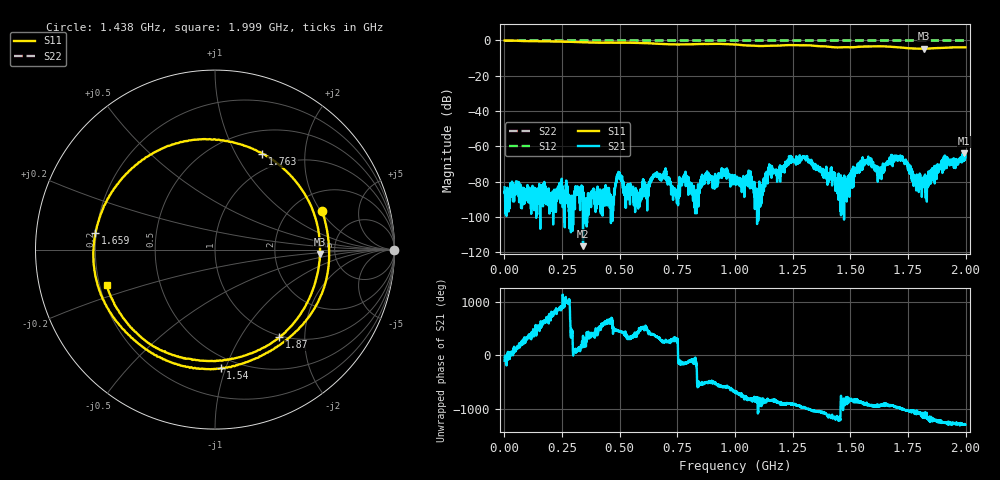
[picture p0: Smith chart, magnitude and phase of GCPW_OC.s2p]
! Anritsu VNA Master:  Model: MS2025B
! SN:  1642059
! /bd0/PROE/TP1/GCPW_OC.s2p
! Existing Calibration Information:
! TYPE:  Current Settings,  Active Cal Settings
! TIME:  04/16/2024 09:08:44 AM,  03/12/2018 11:45:53 AM
! INTERNAL TEMP:  43.0 C,  40.8 C
! # POINTS:  2857,  4001
! START FREQ:  1.000 MHz,  1.000 MHz
! STOP FREQ:  1.999 486 GHz,  2.800 GHz
! SOURCE POWER:  Default,  Default
! IFBW:  1 kHz,  1 kHz
! AVG FACTOR:  1 ,  1
! REF PLANE 1:  0 mm,  0 mm
! REF PLANE 2:  0 mm,  0 mm
! CAL TYPE:  1P2P S11,S21,  1P2P S11,S21
! CAL METHOD:  SOLT,  SOLT
! CAL LINE TYPE:  Coax,  Coax
! DUT PORT 1:  ,
! DUT PORT 2:  N-Conn(M),  N-Conn(M)
! CAL STATUS:  OK: Accuracy High,  --
# GHZ S MA R 50.0
! FREQ.GHZ  S11M  S11A  S21M  S21A  S12M  S12A  S22M  S22A
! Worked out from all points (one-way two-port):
!   2857 points, 1 MHz to 1.999 GHz, reference 50 ohm
!   highest |S21| = -63.90 dB at 1.995 GHz (marker M1); lowest = -116.7 dB at 341.1 MHz (marker M2)
!   lowest |S11| = -4.7 dB at 1.82 GHz (marker M3), VSWR 3.81, Z = 190 - j13.8 ohm
!   |S11| at or under -10 dB: nowhere
!   |S22| runs from 0.0 to 0.0 dB; largest |S21 - S12| = 1
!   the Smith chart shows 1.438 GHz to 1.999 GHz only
!   S11 on the Smith chart (normalised r, x): 1.438 GHz: 2.83, +2.06; 1.54 GHz: 0.41, -0.96; 1.659 GHz: 0.20, +0.07; 1.763 GHz: 0.78, +1.29; 1.87 GHz: 0.98, -1.50; 1.999 GHz: 0.23, -0.15
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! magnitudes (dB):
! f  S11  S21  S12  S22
! 1 MHz  0.0  -83.3  0.0  0.0
! 334.1 MHz  -1.0  -87.4  0.0  0.0
! 341.1 MHz  -1.1  -116.7  0.0  0.0
! 667.2 MHz  -1.9  -77.2  0.0  0.0
! 844.9 MHz  -2.0  -81.9  0.0  0.0
! 952.7 MHz  -2.0  -76.7  0.0  0.0
! 1 GHz  -2.3  -76.3  0.0  0.0
! 1.12 GHz  -3.2  -87.8  0.0  0.0
! 1.242 GHz  -2.6  -69.4  0.0  0.0
! 1.333 GHz  -2.9  -69.2  0.0  0.0
! 1.438 GHz  -4.0  -85.2  0.0  0.0
! 1.54 GHz  -3.6  -70.2  0.0  0.0
! 1.581 GHz  -3.4  -68.3  0.0  0.0
! 1.629 GHz  -3.3  -72.3  0.0  0.0
! 1.659 GHz  -3.4  -70.7  0.0  0.0
! 1.666 GHz  -3.5  -68.2  0.0  0.0
! 1.72 GHz  -4.0  -68.1  0.0  0.0
! 1.763 GHz  -4.5  -75.3  0.0  0.0
! 1.82 GHz  -4.7  -80.4  0.0  0.0
! 1.87 GHz  -4.4  -73.6  0.0  0.0
! 1.995 GHz  -3.9  -63.9  0.0  0.0
! 1.999 GHz  -3.9  -66.3  0.0  0.0
